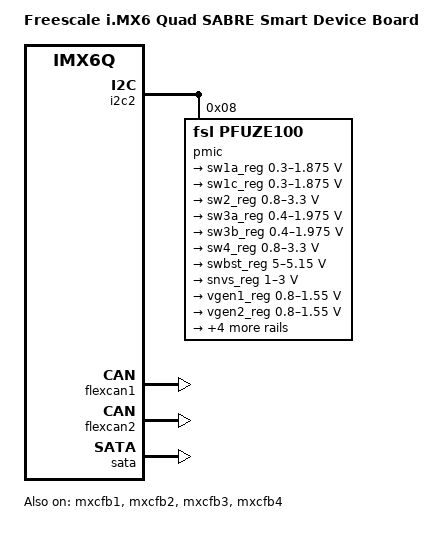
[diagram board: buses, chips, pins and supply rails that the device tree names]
/*
 * Copyright 2012 Freescale Semiconductor, Inc.
 * Copyright 2011 Linaro Ltd.
 *
 * The code contained herein is licensed under the GNU General Public
 * License. You may obtain a copy of the GNU General Public License
 * Version 2 or later at the following locations:
 *
 * http://www.opensource.org/licenses/gpl-license.html
 * http://www.gnu.org/copyleft/gpl.html
 */

/dts-v1/;

#include "imx6d-jyd.dtsi"
#include "imx6qdl-jyd.dtsi"

/ {
	model = "Freescale i.MX6 Quad SABRE Smart Device Board";
	compatible = "fsl,imx6q-sabresd", "fsl,imx6q";
};

&battery {
	offset-charger = <1900>;
	offset-discharger = <1694>;
	offset-usb-charger = <1685>;
};

&i2c2 {
	pmic: pfuze100@08 {
		compatible = "fsl,pfuze100";
		reg = <0x08>;

		regulators {
			sw1a_reg: sw1ab {
				regulator-min-microvolt = <300000>;
				regulator-max-microvolt = <1875000>;
				regulator-boot-on;
				regulator-always-on;
				regulator-ramp-delay = <6250>;
			};

			sw1c_reg: sw1c {
				regulator-min-microvolt = <300000>;
				regulator-max-microvolt = <1875000>;
				regulator-boot-on;
				regulator-always-on;
				regulator-ramp-delay = <6250>;
			};

			sw2_reg: sw2 {
				regulator-min-microvolt = <800000>;
				regulator-max-microvolt = <3300000>;
				regulator-boot-on;
				regulator-always-on;
			};

			sw3a_reg: sw3a {
				regulator-min-microvolt = <400000>;
				regulator-max-microvolt = <1975000>;
				regulator-boot-on;
				regulator-always-on;
			};

			sw3b_reg: sw3b {
				regulator-min-microvolt = <400000>;
				regulator-max-microvolt = <1975000>;
				regulator-boot-on;
				regulator-always-on;
			};

			sw4_reg: sw4 {
				regulator-min-microvolt = <800000>;
				regulator-max-microvolt = <3300000>;
			};

			swbst_reg: swbst {
				regulator-min-microvolt = <5000000>;
				regulator-max-microvolt = <5150000>;
			};

			snvs_reg: vsnvs {
				regulator-min-microvolt = <1000000>;
				regulator-max-microvolt = <3000000>;
				regulator-boot-on;
				regulator-always-on;
			};

			vref_reg: vrefddr {
				regulator-boot-on;
				regulator-always-on;
			};

			vgen1_reg: vgen1 {
				regulator-min-microvolt = <800000>;
				regulator-max-microvolt = <1550000>;
			};

			vgen2_reg: vgen2 {
				regulator-min-microvolt = <800000>;
				regulator-max-microvolt = <1550000>;
			};

			vgen3_reg: vgen3 {
				regulator-min-microvolt = <1800000>;
				regulator-max-microvolt = <3300000>;
			};

			vgen4_reg: vgen4 {
				regulator-min-microvolt = <1800000>;
				regulator-max-microvolt = <3300000>;
				regulator-always-on;
			};

			vgen5_reg: vgen5 {
				regulator-min-microvolt = <1800000>;
				regulator-max-microvolt = <3300000>;
				regulator-always-on;
			};

			vgen6_reg: vgen6 {
				regulator-min-microvolt = <1800000>;
				regulator-max-microvolt = <3300000>;
				regulator-always-on;
			};


		};
	};
};

&ldb {
	lvds-channel@0 {
		crtc = "ipu2-di0";
	};

	lvds-channel@1 {
		crtc = "ipu2-di1";
	};
};


&flexcan1 {
	pinctrl-names = "default";
	pinctrl-0 = <&pinctrl_flexcan1_jyd>;
	/*xceiver-supply = <&reg_can_xcvr>;
	
	pinctrl-assert-gpios = <&max7310_b 3 GPIO_ACTIVE_HIGH>; 
	trx-en-gpio = <&max7310_b 6 GPIO_ACTIVE_HIGH>;
	trx-stby-gpio = <&max7310_b 5 GPIO_ACTIVE_HIGH>;
	*/
	trx-stby-gpio = <&gpio4 5 GPIO_ACTIVE_HIGH>;
	status = "okay";
};

&flexcan2 {
	pinctrl-names = "default";
	pinctrl-0 = <&pinctrl_flexcan2_jyd>;
	/*
	trx-en-gpio = <&max7310_c 6 GPIO_ACTIVE_HIGH>;
	trx-stby-gpio = <&max7310_c 5 GPIO_ACTIVE_HIGH>;
	*/
	status = "okay";
};


&mxcfb1 {
	status = "okay";
};

&mxcfb2 {
	status = "okay";
};

&mxcfb3 {
	status = "okay";
};

&mxcfb4 {
	status = "okay";
};

&sata {
	status = "okay";
};
